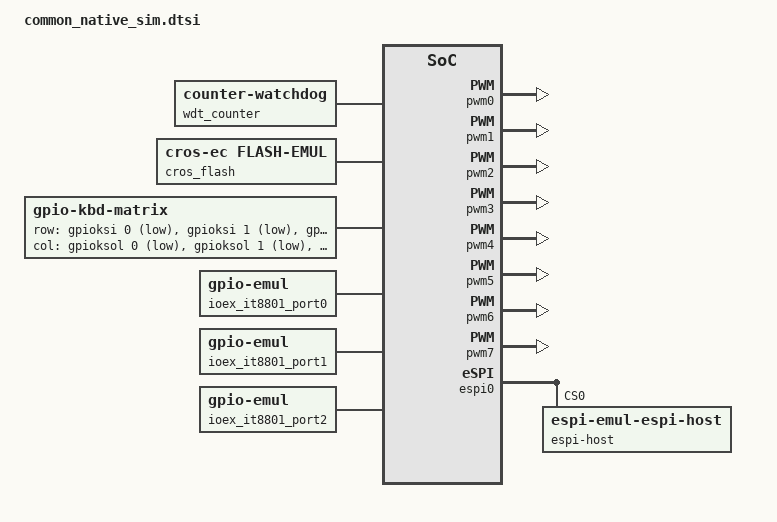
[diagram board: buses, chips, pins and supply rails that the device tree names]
/* Copyright 2026 The ChromiumOS Authors
 * Use of this source code is governed by a BSD-style license that can be
 * found in the LICENSE file.
 */

#include <board-overlays/native_sim.dts>
#include <cros/binman.dtsi>
#include <cros/cbi_flash.dtsi>
#include <cros/vivaldi_kbd_default.dtsi>
#include <dt-bindings/pwm/pwm.h>
#include <freq.h>

#define BOARD_NATIVE_SIM

/*
 * zephyr,gpio-emul does not support open-drain/open-source flags. Mask them
 * out so board devicetree files can be included unmodified on native_sim.
 */
#undef GPIO_OPEN_DRAIN
#define GPIO_OPEN_DRAIN 0
#undef GPIO_OPEN_SOURCE
#define GPIO_OPEN_SOURCE 0
#undef GPIO_ODR_LOW
#define GPIO_ODR_LOW GPIO_OUTPUT_LOW
#undef GPIO_ODR_HIGH
#define GPIO_ODR_HIGH GPIO_OUTPUT_HIGH

/ {
	/* Delete conflicting native_sim peripherals. */
	/delete-node/ adc;
	/delete-node/ i2c@100;

	chosen {
		cros-ec,espi = &espi0;
		cros-ec,watchdog = &wdt_counter;
		cros-ec,flash = &flash0;
		cros-ec,flash-controller = &cros_flash;
		cros,rtc = &cros_rtc;
	};

	wdt_counter: wdt-counter {
		compatible = "zephyr,counter-watchdog";
		status = "okay";
		counter = <&counter0>;
	};

	cros_flash: cros-flash {
		compatible = "cros-ec,flash-emul";
	};

	cros_rtc: cros-rtc {
		compatible = "cros-ec,rtc-emul";
	};

	pwms {
		#address-cells = <1>;
		#size-cells = <1>;

		pwm0: pwm@0 {
			compatible = "cros,pwm-mock";
			reg = <0 1>;
			#pwm-cells = <3>;
			status = "okay";
		};

		pwm1: pwm@1 {
			compatible = "cros,pwm-mock";
			reg = <1 1>;
			#pwm-cells = <3>;
			status = "okay";
		};

		pwm2: pwm@2 {
			compatible = "cros,pwm-mock";
			reg = <2 1>;
			#pwm-cells = <3>;
			status = "okay";
		};

		pwm3: pwm@3 {
			compatible = "cros,pwm-mock";
			reg = <3 1>;
			#pwm-cells = <3>;
			status = "okay";
		};

		pwm4: pwm@4 {
			compatible = "cros,pwm-mock";
			reg = <4 1>;
			#pwm-cells = <3>;
			status = "okay";
		};

		pwm5: pwm@5 {
			compatible = "cros,pwm-mock";
			reg = <5 1>;
			#pwm-cells = <3>;
			status = "okay";
		};

		pwm6: pwm@6 {
			compatible = "cros,pwm-mock";
			reg = <6 1>;
			#pwm-cells = <3>;
			status = "okay";
		};

		pwm7: pwm@7 {
			compatible = "cros,pwm-mock";
			reg = <7 1>;
			#pwm-cells = <3>;
			status = "okay";
		};
	};

	tachs {
		#address-cells = <1>;
		#size-cells = <1>;

		tach0: tach@0 {
			compatible = "cros,tach-mock";
			reg = <0 1>;
			#tach-cells = <3>;
			status = "okay";
		};

		tach1: tach@1 {
			compatible = "cros,tach-mock";
			reg = <1 1>;
			#tach-cells = <3>;
			status = "okay";
		};
	};

	kbd: keyboard {
		compatible = "gpio-kbd-matrix";
		idle-mode = "poll";
		row-gpios = <&gpioksi 0 GPIO_ACTIVE_LOW>,
			    <&gpioksi 1 GPIO_ACTIVE_LOW>,
			    <&gpioksi 2 GPIO_ACTIVE_LOW>,
			    <&gpioksi 3 GPIO_ACTIVE_LOW>,
			    <&gpioksi 4 GPIO_ACTIVE_LOW>,
			    <&gpioksi 5 GPIO_ACTIVE_LOW>,
			    <&gpioksi 6 GPIO_ACTIVE_LOW>,
			    <&gpioksi 7 GPIO_ACTIVE_LOW>;
		col-gpios = <&gpioksol 0 GPIO_ACTIVE_LOW>,
			    <&gpioksol 1 GPIO_ACTIVE_LOW>,
			    <&gpioksol 2 GPIO_ACTIVE_LOW>,
			    <&gpioksol 3 GPIO_ACTIVE_LOW>,
			    <&gpioksol 4 GPIO_ACTIVE_LOW>,
			    <&gpioksol 5 GPIO_ACTIVE_LOW>,
			    <&gpioksol 6 GPIO_ACTIVE_LOW>,
			    <&gpioksol 7 GPIO_ACTIVE_LOW>,
			    <&gpioksoh 0 GPIO_ACTIVE_LOW>,
			    <&gpioksoh 1 GPIO_ACTIVE_LOW>,
			    <&gpioksoh 2 GPIO_ACTIVE_LOW>,
			    <&gpioksoh 3 GPIO_ACTIVE_LOW>,
			    <&gpioksoh 4 GPIO_ACTIVE_LOW>,
			    <&gpioksoh 5 GPIO_ACTIVE_LOW>,
			    <&gpioksoh 6 GPIO_ACTIVE_LOW>,
			    <&gpioksoh 7 GPIO_ACTIVE_LOW>,
			    <&gpioksoh 8 GPIO_ACTIVE_LOW>,
			    <&gpioksoh 9 GPIO_ACTIVE_LOW>;
	};

	/* Emulated I/O expander GPIO ports for <ite/it8801-common-cfg.dtsi> */
	ioex_it8801_port0: ioex-it8801-port-0 {
		compatible = "zephyr,gpio-emul";
		gpio-controller;
		#gpio-cells = <2>;
		ngpios = <8>;
	};

	ioex_it8801_port1: ioex-it8801-port-1 {
		compatible = "zephyr,gpio-emul";
		gpio-controller;
		#gpio-cells = <2>;
		ngpios = <8>;
	};

	ioex_it8801_port2: ioex-it8801-port-2 {
		compatible = "zephyr,gpio-emul";
		gpio-controller;
		#gpio-cells = <2>;
		ngpios = <8>;
	};
};

&espi0 {
	espi-host@0 {
		status = "okay";
		compatible = "zephyr,espi-emul-espi-host";
		reg = <0x0>;
	};
};

&flash0 {
	erase-block-size = <0x1000>;
	write-block-size = <1>;
	reg = <0x00000000 DT_SIZE_M(1)>;
};

&cbi_flash {
	size = <0x1000>;
};
